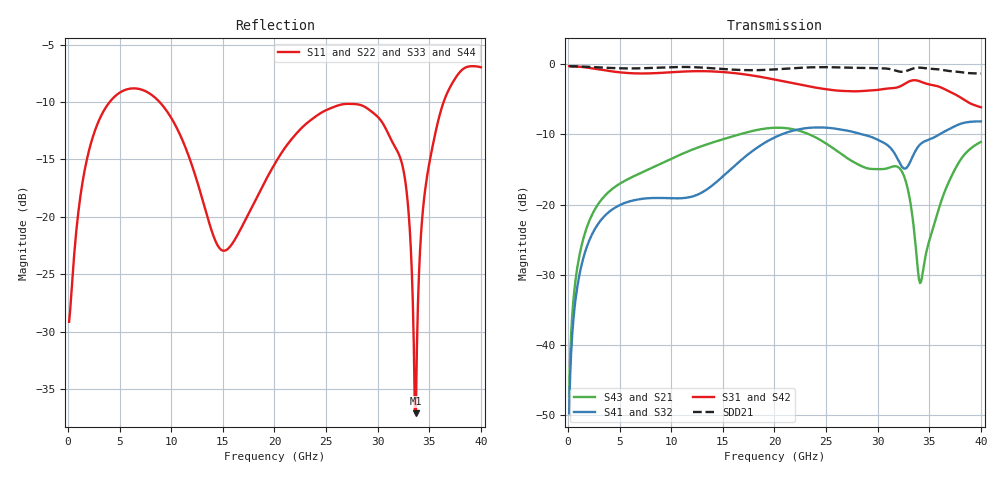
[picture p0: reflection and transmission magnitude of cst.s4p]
! P_ts6_finger_diff: gold-finger pair 0.7 × 2.1 mm, pitch 1 mm, between GND fingers (gap 0.3 mm), every plane cut back
! stackup: ThunderScope Rev5.3 6-layer (FR408HR / FR-4, from the board file)
! ports: 1 P near, 2 N near, 3 P far, 4 N far
! CST Studio Suite 2025.5 Release from 2025-05-30, time domain (FIT, hexahedral, PBA), 185640 mesh cells, 53 s
! mesh: {'lpw': 20, 'lpb': 20, 'minstep': 0.0, 'ratio': 20}; ports: port 1 (face); port 2 (face); port 3 (face); port 4 (face)
! interpolated from CST's 1001 samples to the case grid
# Hz S RI R 50
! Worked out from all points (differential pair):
!   400 points, 100 MHz to 40 GHz, reference 50 ohm
!   strongest paths, dB at 100 MHz, 10.1 GHz, 20.1 GHz, 30.1 GHz, 40 GHz:
!     S31: -0.3, -1.2, -2.2, -3.7, -6.1
!     S42: -0.3, -1.2, -2.2, -3.7, -6.1
!     S41: -49.7, -19.1, -10.4, -10.8, -8.2
!     S32: -49.7, -19.1, -10.4, -10.8, -8.2
!     S43: -47.3, -13.4, -9.1, -15.0, -11.1
!     S21: -47.3, -13.4, -9.1, -15.0, -11.1
!   taken as a pair (ports 1,2 in; 3,4 out), SDD21 dB: -0.3, -0.4, -0.8, -0.6, -1.3
!   lowest |S11| = -37.1 dB at 33.7 GHz (marker M1), VSWR 1.03, Z = 49.2 + j1.12 ohm
!   |S11| at or under -10 dB: start of sweep to 4.024 GHz; 8.872 GHz to 36.39 GHz (27.51 GHz wide, 122 % of centre)
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1e8  -0.033 0.0113  0.00158 0.004  0.966 -0.0308  0.00126 -0.00301
     0.00158 0.004  -0.033 0.0113  0.00126 -0.00301  0.966 -0.0308
     0.966 -0.0308  0.00126 -0.00301  -0.033 0.0113  0.00158 0.004
     0.00126 -0.00301  0.966 -0.0308  0.00158 0.004  -0.033 0.0113
2.4e9  0.1317 0.18  0.0699 0.0514  0.6833 -0.6325  -0.0551 -0.0304
       0.0699 0.0514  0.1317 0.18  -0.0551 -0.0304  0.6833 -0.6325
       0.6833 -0.6325  -0.0551 -0.0304  0.1317 0.18  0.0699 0.0514
       -0.0551 -0.0304  0.6833 -0.6325  0.0699 0.0514  0.1317 0.18
1.12e10  -0.0331 -0.207  -0.044 -0.2277  -0.8828 0.0628  0.0706 0.0859
         -0.044 -0.2277  -0.0331 -0.207  0.0706 0.0859  -0.8828 0.0628
         -0.8828 0.0628  0.0706 0.0859  -0.0331 -0.207  -0.044 -0.2277
         0.0706 0.0859  -0.8828 0.0628  -0.044 -0.2277  -0.0331 -0.207
2.1e10  0.1191 0.1599  0.00959 0.3504  0.7436 0.1042  -0.085 -0.3107
        0.00959 0.3504  0.1191 0.1599  -0.0849 -0.3107  0.7436 0.1042
        0.7436 0.1042  -0.0849 -0.3107  0.1191 0.1599  0.00959 0.3504
        -0.085 -0.3107  0.7436 0.1042  0.00959 0.3504  0.1191 0.1599
3.2e10  0.098 -0.1621  0.0248 -0.1826  -0.6412 -0.2435  0.1681 0.1199
        0.0248 -0.1826  0.098 -0.1622  0.168 0.1199  -0.6412 -0.2435
        -0.6412 -0.2435  0.168 0.1199  0.098 -0.1622  0.0248 -0.1826
        0.1681 0.1199  -0.6412 -0.2435  0.0248 -0.1826  0.098 -0.1621
3.37e10  -0.00807 0.0113  -0.0299 -0.0387  -0.7463 0.1757  0.1935 0.1484
         -0.0299 -0.0387  -0.00805 0.0112  0.1934 0.1485  -0.7463 0.1757
         -0.7463 0.1757  0.1934 0.1485  -0.00805 0.0112  -0.0299 -0.0387
         0.1935 0.1484  -0.7463 0.1757  -0.0299 -0.0387  -0.00807 0.0113
4e10  0.2439 -0.3763  -0.1169 -0.2534  0.261 0.418  -0.0244 -0.3897
      -0.1169 -0.2534  0.244 -0.3764  -0.0242 -0.3896  0.261 0.418
      0.261 0.418  -0.0242 -0.3896  0.244 -0.3764  -0.1169 -0.2534
      -0.0244 -0.3897  0.261 0.418  -0.1169 -0.2534  0.2439 -0.3763
